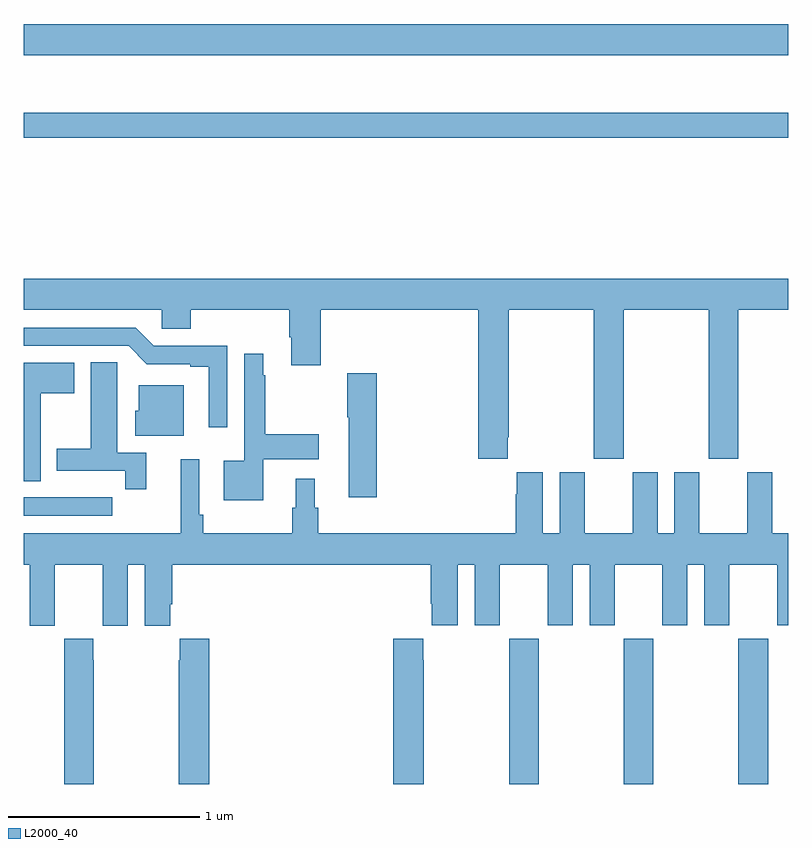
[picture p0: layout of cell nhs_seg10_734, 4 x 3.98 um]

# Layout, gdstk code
import gdstk
lib = gdstk.Library(unit=1e-6, precision=1e-09)
def R(c, l, rs):  # rectangles x0, y0, x1, y1
    for r in rs: c.add(gdstk.rectangle(r[:2], r[2:], *l))
def A(c, l, x, y, w, h, nx, ny, dx, dy):  # array of equal rectangles
    R(c, l, [(x+i*dx, y+j*dy, x+i*dx+w, y+j*dy+h) for i in range(nx) for j in range(ny)])
def P(c, l, *ps):  # polygons
    for p in ps: c.add(gdstk.Polygon(p, *l))
L2000_40 = (2000, 40)

nhs_seg10_734 = lib.new_cell('nhs_seg10_734')
A(nhs_seg10_734, L2000_40, 149.539, 1300.5, 0.155, 0.76, 3, 1, 0.6, 0)
R(nhs_seg10_734, L2000_40, [(147,1303.882,151,1304.011), (147,1304.312,151,1304.476)])
P(nhs_seg10_734, L2000_40, [(149.533,1302.313),(149.538,1302.313),(149.538,1302.98),(149.983,1302.98),(149.983,1302.201),(150.138,1302.201),(150.138,1302.98),(150.583,1302.98),(150.583,1302.201),(150.738,1302.201),(150.738,1302.98),(151,1302.98),(151,1303.144),(147,1303.144),(147,1302.98),(147.723,1302.98),(147.723,1302.882),(147.875,1302.882),(147.875,1302.98),(148.388,1302.98),(148.388,1302.838),(148.4,1302.838),(148.4,1302.69),(148.553,1302.69),(148.553,1302.98),(149.378,1302.98),(149.378,1302.201),(149.533,1302.201)],
  [(148.065,1302.792),(147.681,1302.792),(147.585,1302.888),(147,1302.888),(147,1302.792),(147.549,1302.792),(147.645,1302.696),(147.872,1302.696),(147.872,1302.684),(147.968,1302.684),(147.968,1302.366),(148.065,1302.366)],
  [(148.252,1302.2),(148.543,1302.2),(148.543,1302.33),(148.264,1302.33),(148.264,1302.638),(148.252,1302.638),(148.252,1302.751),(148.155,1302.751),(148.155,1302.19),(148.046,1302.19),(148.046,1301.984),(148.252,1301.984)],
  [(147.641,1302.234),(147.49,1302.234),(147.49,1302.596),(147.489,1302.596),(147.489,1302.707),(147.35,1302.707),(147.35,1302.255),(147.173,1302.255),(147.173,1302.138),(147.532,1302.138),(147.532,1302.042),(147.641,1302.042)],
  [(147.088,1302.544),(147.265,1302.544),(147.265,1302.703),(147,1302.703),(147,1302.085),(147.088,1302.085)],
  [(148.847,1302.649),(148.693,1302.649),(148.693,1302.418),(148.7,1302.418),(148.7,1302),(148.847,1302)],
  [(147.838,1302.586),(147.602,1302.586),(147.602,1302.453),(147.584,1302.453),(147.584,1302.323),(147.838,1302.323)],
  [(148.541,1301.946),(148.522,1301.946),(148.522,1302.097),(148.424,1302.097),(148.424,1301.946),(148.405,1301.946),(148.405,1301.812),(147.938,1301.812),(147.938,1301.908),(147.918,1301.908),(147.918,1302.199),(147.821,1302.199),(147.821,1301.812),(147,1301.812),(147,1301.648),(147.032,1301.648),(147.032,1301.328),(147.162,1301.328),(147.162,1301.44),(147.163,1301.44),(147.163,1301.648),(147.413,1301.648),(147.413,1301.44),(147.414,1301.44),(147.414,1301.328),(147.544,1301.328),(147.544,1301.648),(147.632,1301.648),(147.632,1301.328),(147.766,1301.328),(147.766,1301.44),(147.776,1301.44),(147.776,1301.648),(149.129,1301.648),(149.129,1301.443),(149.135,1301.443),(149.135,1301.331),(149.272,1301.331),(149.272,1301.648),(149.36,1301.648),(149.36,1301.331),(149.491,1301.331),(149.491,1301.648),(149.741,1301.648),(149.741,1301.331),(149.872,1301.331),(149.872,1301.648),(149.96,1301.648),(149.96,1301.331),(150.091,1301.331),(150.091,1301.648),(150.341,1301.648),(150.341,1301.331),(150.472,1301.331),(150.472,1301.648),(150.56,1301.648),(150.56,1301.331),(150.691,1301.331),(150.691,1301.648),(150.941,1301.648),(150.941,1301.331),(151,1301.331),(151,1301.812),(150.916,1301.812),(150.916,1302.13),(150.785,1302.13),(150.785,1301.812),(150.535,1301.812),(150.535,1302.13),(150.404,1302.13),(150.404,1301.812),(150.316,1301.812),(150.316,1302.13),(150.185,1302.13),(150.185,1301.812),(149.935,1301.812),(149.935,1302.13),(149.804,1302.13),(149.804,1301.812),(149.716,1301.812),(149.716,1302.13),(149.579,1302.13),(149.579,1302.017),(149.573,1302.017),(149.573,1301.812),(148.541,1301.812)],
  [(147.463,1302),(147.35,1302),(147.35,1302.001),(147.184,1302.001),(147.184,1302),(147,1302),(147,1301.904),(147.463,1301.904)],
  [(147.366,1301.147),(147.363,1301.147),(147.363,1301.26),(147.213,1301.26),(147.213,1301.147),(147.211,1301.147),(147.211,1300.5),(147.366,1300.5)],
  [(149.094,1301.147),(149.089,1301.147),(149.089,1301.26),(148.934,1301.26),(148.934,1300.5),(149.094,1300.5)],
  [(147.971,1301.26),(147.817,1301.26),(147.817,1301.147),(147.811,1301.147),(147.811,1300.5),(147.971,1300.5)])

lib.write_gds('nhs_seg10_734.gds')
